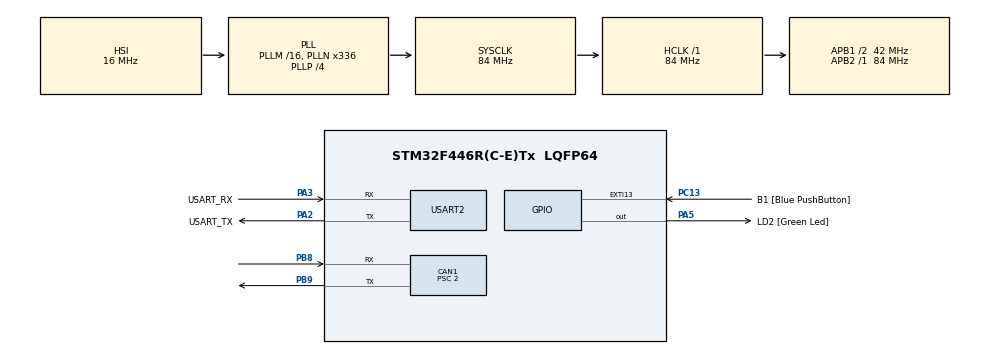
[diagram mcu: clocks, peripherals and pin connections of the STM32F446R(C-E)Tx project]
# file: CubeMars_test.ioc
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CAN1.BS1=CAN_BS1_16TQ
CAN1.BS2=CAN_BS2_4TQ
CAN1.CalculateBaudRate=1000000
CAN1.CalculateTimeBit=1000
CAN1.CalculateTimeQuantum=47.61904761904762
CAN1.Mode=CAN_MODE_NORMAL
CAN1.Prescaler=2
Mcu.Family=STM32F4
Mcu.Name=STM32F446R(C-E)Tx
Mcu.Package=LQFP64
NVIC.CAN1_RX0_IRQn=true\:0\:0\:false\:false\:true\:true\:true\:true
NVIC.CAN1_RX1_IRQn=true\:0\:0\:false\:false\:true\:true\:true\:true
NVIC.PriorityGroup=NVIC_PRIORITYGROUP_0
PA13.GPIO_Label=TMS
PA13.Mode=Serial_Wire
PA13.Signal=SYS_JTMS-SWDIO
PA14.GPIO_Label=TCK
PA14.Mode=Serial_Wire
PA14.Signal=SYS_JTCK-SWCLK
PA2.GPIO_Label=USART_TX
PA2.Mode=Asynchronous
PA2.Signal=USART2_TX
PA3.GPIO_Label=USART_RX
PA3.Mode=Asynchronous
PA3.Signal=USART2_RX
PA5.GPIO_Label=LD2 [Green Led]
PA5.Signal=GPIO_Output
PB3.GPIO_Label=SWO
PB3.Signal=SYS_JTDO-SWO
PB8.GPIO_PuPd=GPIO_PULLUP
PB8.Mode=CAN_Activate
PB8.Signal=CAN1_RX
PB9.Mode=CAN_Activate
PB9.Signal=CAN1_TX
PC13.GPIO_Label=B1 [Blue PushButton]
PC13.GPIO_ModeDefaultEXTI=GPIO_MODE_IT_FALLING
PC13.Signal=GPXTI13
PC14-OSC32_IN.Mode=LSE-External-Oscillator
PC14-OSC32_IN.Signal=RCC_OSC32_IN
PC15-OSC32_OUT.Mode=LSE-External-Oscillator
PC15-OSC32_OUT.Signal=RCC_OSC32_OUT
PH0-OSC_IN.Mode=HSE-External-Oscillator
PH0-OSC_IN.Signal=RCC_OSC_IN
PH1-OSC_OUT.Mode=HSE-External-Oscillator
PH1-OSC_OUT.Signal=RCC_OSC_OUT
ProjectManager.HeapSize=0x200
ProjectManager.StackSize=0x400
ProjectManager.TargetToolchain=CMake
RCC.48MHZClocksFreq_Value=84000000
RCC.AHBFreq_Value=84000000
RCC.APB1CLKDivider=RCC_HCLK_DIV2
RCC.APB1Freq_Value=42000000
RCC.APB1TimFreq_Value=84000000
RCC.APB2Freq_Value=84000000
RCC.APB2TimFreq_Value=84000000
RCC.CortexFreq_Value=84000000
RCC.FLatency-AdvancedSettings=FLASH_LATENCY_2
RCC.HCLKFreq_Value=84000000
RCC.HSE_VALUE=8000000
RCC.HSI_VALUE=16000000
RCC.PLLN=336
RCC.PLLP=RCC_PLLP_DIV4
RCC.SYSCLKFreq_VALUE=84000000
RCC.SYSCLKSource=RCC_SYSCLKSOURCE_PLLCLK
RCC.USBFreq_Value=168000000
RCC.VCOOutputFreq_Value=336000000
USART2.VirtualMode=VM_ASYNC
board=NUCLEO-F446RE

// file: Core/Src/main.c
/* USER CODE BEGIN Header */
/**
  ******************************************************************************
  * @file           : main.c
  * @brief          : Main program body
  ******************************************************************************
  * @attention
  *
  * Copyright (c) 2025 STMicroelectronics.
  * All rights reserved.
  *
  * This software is licensed under terms that can be found in the LICENSE file
  * in the root directory of this software component.
  * If no LICENSE file comes with this software, it is provided AS-IS.
  *
  ******************************************************************************
  */
/* USER CODE END Header */
#include "main.h"

/* USER CODE BEGIN Includes */

#include "stm32f4xx_hal.h"
#include "stm32f4xx_hal_def.h"
#include "stm32f4xx_hal_uart.h"
#include <stdint.h>
#include <stdio.h>
#include <string.h>
#include <sys/_intsup.h>
#include <sys/types.h>
#include "uart_dbg.h"
#include "cubemars_test.h"
#include "robostride_test.h"

/* USER CODE END Includes */

CAN_HandleTypeDef hcan1;

UART_HandleTypeDef huart2;

void SystemClock_Config(void);
static void MX_GPIO_Init(void);
static void MX_CAN1_Init(void);
static void MX_USART2_UART_Init(void);

/* USER CODE BEGIN 0 */

//These are all necessary definitions to use the can bus
CAN_TxHeaderTypeDef TxHeader;
CAN_RxHeaderTypeDef RxHeader;

uint32_t TxMailbox;

uint8_t recv_msg[8];

// uint32_t cur_time = 0;
// float cur_pos = 3.14;

char uart_msg[100];

uint8_t can_receive_flag;

motor_t m1;
motor_t m2;

void HAL_CAN_RxFifo0MsgPendingCallback(CAN_HandleTypeDef *hcan1)
{

  HAL_CAN_GetRxMessage(hcan1, CAN_RX_FIFO0, &RxHeader, recv_msg);
  CUBARMARS_unpack_mit_ctrl_parameters(recv_msg, sizeof(recv_msg));

  can_receive_flag = 1;
}

void motor_init()
{
  m1 = {
    .id = 0,
    .master_id = 0,
    .
  };
}

/* USER CODE END 0 */

int main(void)
{

  /* MCU Configuration--------------------------------------------------------*/

  /* Reset of all peripherals, Initializes the Flash interface and the Systick. */
  HAL_Init();

  /* USER CODE BEGIN Init */
  can_receive_flag = 0;

  /* USER CODE END Init */

  /* Configure the system clock */
  SystemClock_Config();

  /* Initialize all configured peripherals */
  MX_GPIO_Init();
  MX_CAN1_Init();
  MX_USART2_UART_Init();
  /* USER CODE BEGIN 2 */
  if (HAL_CAN_Start(&hcan1) != HAL_OK){
    return 1;
  }
  HAL_CAN_ActivateNotification(&hcan1, CAN_IT_RX_FIFO0_MSG_PENDING);
  char uart_msg[100];
  /*
    Go to the can filter config defined in the CAN 1 init function
    Filter Fifo assignment was assigned to CAN rx fifo 0
    since we have turned on thee RX fifo0 intr, RXfifo msg pending callback will be called once incoming data was stored in the RX FIFO0
    count will increment
  */

  // CUBEMARS_enable_motion_ctrl(&hcan1, &TxMailbox);

  /* USER CODE END 2 */

  /* Infinite loop */
  while (1)
  {

    /* USER CODE BEGIN 3 */

    // if (HAL_GetTick() - cur_time > 3000) {
    //   cur_time = HAL_GetTick();
    //   snprintf(uart_msg, sizeof(uart_msg), "Motor Report:\r\nTEMP: %0d | ERROR_CODE: %0x\r\nPOS: %0d | SPD: %0d | TORQ: %0d\r\n", motor_temp, error_code, pos_int, spd_int, torq_int);
    //   HAL_UART_Transmit(&huart2, uart_msg, sizeof(uart_msg), HAL_MAX_DELAY);
    //   if (CUBEMARS_set_motion_ctrl_parameters(&hcan1, &TxMailbox, cur_pos, 0, 200, 3, 0.0) != HAL_OK){
    //     char *msg = "set pos failed\n";
    //     HAL_UART_Transmit(&huart2, msg, strlen(msg), HAL_MAX_DELAY);
    //   }
    //     CUBEMARS_enable_motion_ctrl(&hcan1, &TxMailbox);
    //   cur_pos = -cur_pos;
    // }
    snprintf(uart_msg, sizeof(uart_msg), "uart-cmd$: ");
    HAL_UART_Transmit(&huart2, uart_msg, strlen(uart_msg), HAL_MAX_DELAY);
    if(uart_get_new_line(&huart2, uart_msg, sizeof(uart_msg))!=HAL_OK){
      snprintf(uart_msg, sizeof(uart_msg), "UART error\r\n");
      HAL_UART_Transmit(&huart2, uart_msg, strlen(uart_msg), HAL_MAX_DELAY);
      return -1;
    }
    uart_parse_cmd(&huart2, uart_msg, strlen(uart_msg));

  }
  /* USER CODE END 3 */
}

void SystemClock_Config(void)
{
  RCC_OscInitTypeDef RCC_OscInitStruct = {0};
  RCC_ClkInitTypeDef RCC_ClkInitStruct = {0};

  /** Configure the main internal regulator output voltage
  */
  __HAL_RCC_PWR_CLK_ENABLE();
  __HAL_PWR_VOLTAGESCALING_CONFIG(PWR_REGULATOR_VOLTAGE_SCALE3);

  /** Initializes the RCC Oscillators according to the specified parameters
  * in the RCC_OscInitTypeDef structure.
  */
  RCC_OscInitStruct.OscillatorType = RCC_OSCILLATORTYPE_HSI;
  RCC_OscInitStruct.HSIState = RCC_HSI_ON;
  RCC_OscInitStruct.HSICalibrationValue = RCC_HSICALIBRATION_DEFAULT;
  RCC_OscInitStruct.PLL.PLLState = RCC_PLL_ON;
  RCC_OscInitStruct.PLL.PLLSource = RCC_PLLSOURCE_HSI;
  RCC_OscInitStruct.PLL.PLLM = 16;
  RCC_OscInitStruct.PLL.PLLN = 336;
  RCC_OscInitStruct.PLL.PLLP = RCC_PLLP_DIV4;
  RCC_OscInitStruct.PLL.PLLQ = 2;
  RCC_OscInitStruct.PLL.PLLR = 2;
  if (HAL_RCC_OscConfig(&RCC_OscInitStruct) != HAL_OK)
  {
    Error_Handler();
  }

  /** Initializes the CPU, AHB and APB buses clocks
  */
  RCC_ClkInitStruct.ClockType = RCC_CLOCKTYPE_HCLK|RCC_CLOCKTYPE_SYSCLK
                              |RCC_CLOCKTYPE_PCLK1|RCC_CLOCKTYPE_PCLK2;
  RCC_ClkInitStruct.SYSCLKSource = RCC_SYSCLKSOURCE_PLLCLK;
  RCC_ClkInitStruct.AHBCLKDivider = RCC_SYSCLK_DIV1;
  RCC_ClkInitStruct.APB1CLKDivider = RCC_HCLK_DIV2;
  RCC_ClkInitStruct.APB2CLKDivider = RCC_HCLK_DIV1;

  if (HAL_RCC_ClockConfig(&RCC_ClkInitStruct, FLASH_LATENCY_2) != HAL_OK)
  {
    Error_Handler();
  }
}

static void MX_CAN1_Init(void)
{

  hcan1.Instance = CAN1;
  hcan1.Init.Prescaler = 2;
  hcan1.Init.Mode = CAN_MODE_NORMAL;
  hcan1.Init.SyncJumpWidth = CAN_SJW_1TQ;
  hcan1.Init.TimeSeg1 = CAN_BS1_16TQ;
  hcan1.Init.TimeSeg2 = CAN_BS2_4TQ;
  hcan1.Init.TimeTriggeredMode = DISABLE;
  hcan1.Init.AutoBusOff = DISABLE;
  hcan1.Init.AutoWakeUp = DISABLE;
  hcan1.Init.AutoRetransmission = DISABLE;
  hcan1.Init.ReceiveFifoLocked = DISABLE;
  hcan1.Init.TransmitFifoPriority = DISABLE;
  if (HAL_CAN_Init(&hcan1) != HAL_OK)
  {
    Error_Handler();
  }
  /* USER CODE BEGIN CAN1_Init 2 */

  //enabling the filter configuration
  CAN_FilterTypeDef CAN_filter_config;

  CAN_filter_config.FilterActivation     = CAN_FILTER_ENABLE;             // <- HAL uses ENABLE
  CAN_filter_config.FilterBank           = 10;                 // make sure 10 < SlaveStartFilterBank on CAN1
  CAN_filter_config.FilterFIFOAssignment = CAN_FILTER_FIFO0;
  CAN_filter_config.FilterIdHigh         = 0x0000;
  CAN_filter_config.FilterIdLow          = 0x0000;
  CAN_filter_config.FilterMaskIdHigh     = 0x0000;
  CAN_filter_config.FilterMaskIdLow      = 0x0000;            // mask=0 -> accept all
  CAN_filter_config.FilterMode           = CAN_FILTERMODE_IDMASK;
  CAN_filter_config.FilterScale          = CAN_FILTERSCALE_32BIT;
  CAN_filter_config.SlaveStartFilterBank = 14;                 // typical split for dual-CAN parts

    HAL_CAN_ConfigFilter(&hcan1, &CAN_filter_config);

  /* USER CODE END CAN1_Init 2 */

}

static void MX_USART2_UART_Init(void)
{

  huart2.Instance = USART2;
  huart2.Init.BaudRate = 115200;
  huart2.Init.WordLength = UART_WORDLENGTH_8B;
  huart2.Init.StopBits = UART_STOPBITS_1;
  huart2.Init.Parity = UART_PARITY_NONE;
  huart2.Init.Mode = UART_MODE_TX_RX;
  huart2.Init.HwFlowCtl = UART_HWCONTROL_NONE;
  huart2.Init.OverSampling = UART_OVERSAMPLING_16;
  if (HAL_UART_Init(&huart2) != HAL_OK)
  {
    Error_Handler();
  }

}

static void MX_GPIO_Init(void)
{
  GPIO_InitTypeDef GPIO_InitStruct = {0};

  /* GPIO Ports Clock Enable */
  __HAL_RCC_GPIOC_CLK_ENABLE();
  __HAL_RCC_GPIOH_CLK_ENABLE();
  __HAL_RCC_GPIOA_CLK_ENABLE();
  __HAL_RCC_GPIOB_CLK_ENABLE();

  /*Configure GPIO pin Output Level */
  HAL_GPIO_WritePin(LD2_GPIO_Port, LD2_Pin, GPIO_PIN_RESET);

  /*Configure GPIO pin : B1_Pin */
  GPIO_InitStruct.Pin = B1_Pin;
  GPIO_InitStruct.Mode = GPIO_MODE_IT_FALLING;
  GPIO_InitStruct.Pull = GPIO_NOPULL;
  HAL_GPIO_Init(B1_GPIO_Port, &GPIO_InitStruct);

  /*Configure GPIO pin : LD2_Pin */
  GPIO_InitStruct.Pin = LD2_Pin;
  GPIO_InitStruct.Mode = GPIO_MODE_OUTPUT_PP;
  GPIO_InitStruct.Pull = GPIO_NOPULL;
  GPIO_InitStruct.Speed = GPIO_SPEED_FREQ_LOW;
  HAL_GPIO_Init(LD2_GPIO_Port, &GPIO_InitStruct);

}

void Error_Handler(void)
{
  __disable_irq();
  while (1)
  {
  }
}
